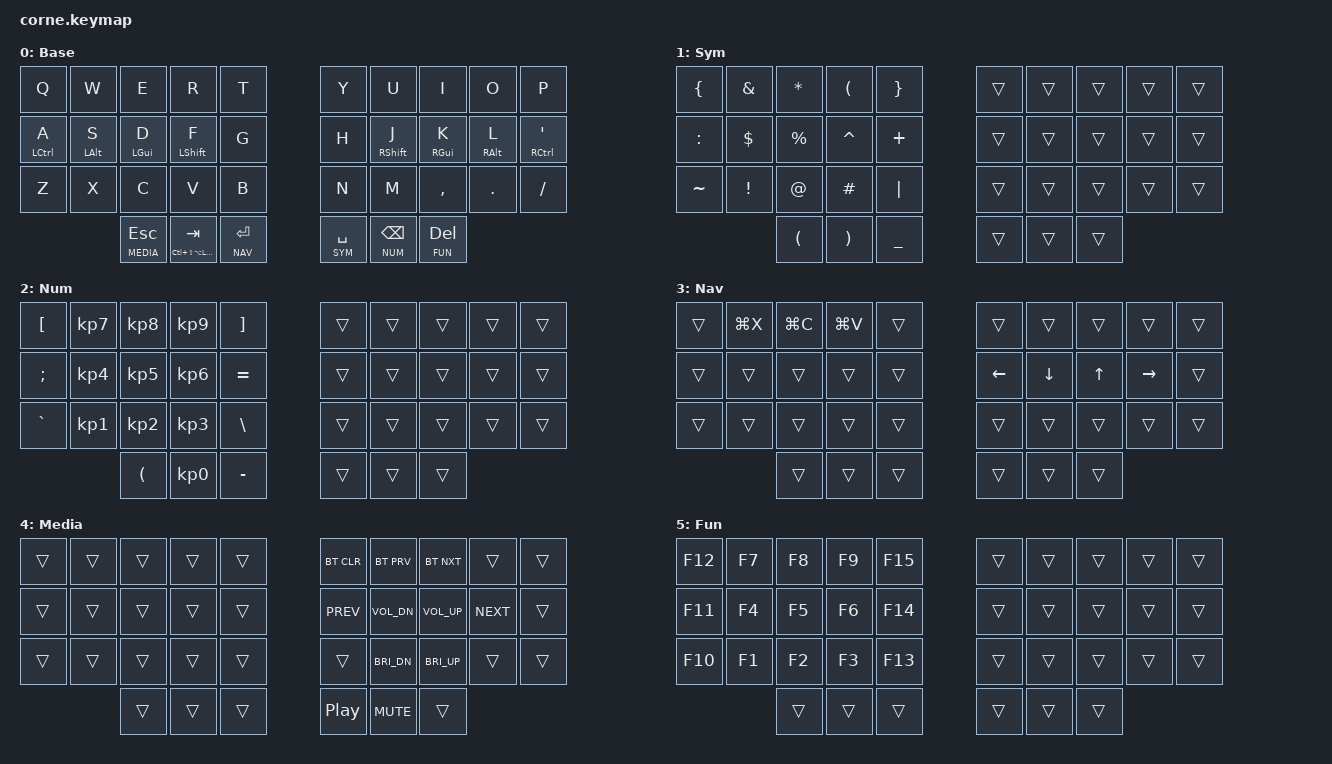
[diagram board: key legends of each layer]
/*
 * Copyright (c) 2020 The ZMK Contributors
 *
 * SPDX-License-Identifier: MIT
 */

#include <behaviors.dtsi>
#include <dt-bindings/zmk/keys.h>
#include <dt-bindings/zmk/bt.h>

#include "zmk-helpers/helper.h"
#include "zmk-helpers/key-labels/36.h"                                      // Source key-labels.

#define QUICK_TAP_MS 175

&lt {
  flavor = "balanced";
  tapping-term-ms = <200>;
  quick-tap-ms = <QUICK_TAP_MS>;
};

#define KEYS_L LT0 LT1 LT2 LT3 LT4 LM0 LM1 LM2 LM3 LM4 LB0 LB1 LB2 LB3 LB4  // Left-hand keys.
#define KEYS_R RT0 RT1 RT2 RT3 RT4 RM0 RM1 RM2 RM3 RM4 RB0 RB1 RB2 RB3 RB4  // Right-hand keys.
#define THUMBS LH2 LH1 LH0 RH0 RH1 RH2

    /* Left-hand HRMs. */
    ZMK_HOLD_TAP(hml,
    flavor = "balanced";
    tapping-term-ms = <280>;
    quick-tap-ms = <175>;
    require-prior-idle-ms = <120>;
    bindings = <&kp>, <&kp>;
    hold-trigger-key-positions = <KEYS_R THUMBS>;
    hold-trigger-on-release;
)

    /* Right-hand HRMs. */
    ZMK_HOLD_TAP(hmr,
    flavor = "balanced";
    tapping-term-ms = <280>;
    quick-tap-ms = <175>;
    require-prior-idle-ms = <120>;
    bindings = <&kp>, <&kp>;
    hold-trigger-key-positions = <KEYS_L THUMBS>;
    hold-trigger-on-release;
)

/{
    chosen {
        zmk,physical-layout = &foostan_corne_5col_layout;
    };

    #define SYM 1
    #define NUM 2
    #define NAV 3
    #define MEDIA 4
    #define FUN 5

    combos {
      compatible = "zmk,combos";
      combo_caps {
        timeout-ms = <50>;
        key-positions = <1 2>;
        bindings = <&kp CAPSLOCK>;
      };
    };

        keymap {
                compatible = "zmk,keymap";

                default_layer {
                        display-name = "Base";
                        bindings = <
   &kp Q        &kp W       &kp E       &kp R         &kp T       &kp Y   &kp U          &kp I           &kp O           &kp P
   &hml LCTRL A &hml LALT S &hml LGUI D &hml LSHIFT F &kp G       &kp H   &hmr RSHIFT J  &hmr RGUI K     &hmr RALT L     &hmr RCTRL APOS 
   &kp Z        &kp X       &kp C       &kp V         &kp B       &kp N   &kp M          &kp COMMA       &kp DOT         &kp SLASH
                            &lt MEDIA ESCAPE  &mt LC(LS(LA(LGUI))) TAB &lt NAV ENTER     &lt SYM SPACE  &lt NUM BSPC  &lt FUN DELETE                       
                        >;
                };

                sym_layer {
                        display-name = "Sym";
                        bindings = <
   &kp LEFT_BRACE &kp AMPERSAND   &kp ASTERISK &kp LEFT_PARENTHESIS  &kp RIGHT_BRACE            &trans &trans &trans &trans &trans
   &kp COLON      &kp DOLLAR      &kp PERCENT  &kp CARET             &kp PLUS                   &trans &trans &trans &trans &trans
   &kp TILDE      &kp EXCLAMATION &kp AT_SIGN  &kp HASH              &kp PIPE                   &trans &trans &trans &trans &trans 
                          &kp LEFT_PARENTHESIS &kp RIGHT_PARENTHESIS &kp UNDERSCORE             &trans &trans &trans
                        >;
                };

                num_layer {
                        display-name = "Num";
                        bindings = <
   &kp LEFT_BRACKET &kp KP_N7 &kp KP_N8 &kp KP_N9 &kp RIGHT_BRACKET                   &trans &trans &trans &trans &trans
   &kp SEMICOLON    &kp KP_N4 &kp KP_N5 &kp KP_N6 &kp EQUAL                           &trans &trans &trans &trans &trans
   &kp GRAVE        &kp KP_N1 &kp KP_N2 &kp KP_N3 &kp BACKSLASH                       &trans &trans &trans &trans &trans 
                          &kp LEFT_PARENTHESIS &kp KP_N0 &kp MINUS             &trans &trans &trans
                        >;
                };

                nav_layer {
                        display-name = "Nav";
                        bindings = <
   &trans  &kp LG(X) &kp LG(C) &kp LG(V) &trans       &trans &trans &trans &trans &trans
   &trans &trans &trans &trans &trans                   &kp LEFT &kp DOWN &kp UP &kp RIGHT &trans
   &trans &trans &trans &trans &trans                   &trans &trans &trans &trans &trans
                       &trans &trans &trans &trans &trans &trans 
                        >;
                };

                media_layer {
                        display-name = "Media";
                       bindings = <
   &trans &trans &trans &trans &trans       &bt BT_CLR &bt BT_PRV &bt BT_NXT &trans &trans
   &trans &trans &trans &trans &trans       &kp K_PREV &kp K_VOL_DN &kp K_VOL_UP &kp K_NEXT &trans
   &trans &trans &trans &trans &trans       &trans &kp C_BRI_DN  &kp C_BRI_UP &trans &trans
                       &trans &trans &trans &kp C_PP &kp K_MUTE  &trans 
                        >;
                };

                fun_layer {
                        display-name = "Fun";
                       bindings = <
   &kp F12 &kp F7 &kp F8 &kp F9 &kp F15       &trans &trans &trans &trans &trans
   &kp F11 &kp F4 &kp F5 &kp F6 &kp F14       &trans &trans &trans &trans &trans
   &kp F10 &kp F1 &kp F2 &kp F3 &kp F13       &trans &trans &trans &trans &trans 
                       &trans &trans &trans &trans &trans &trans 
                        >;
                };
        };
};
